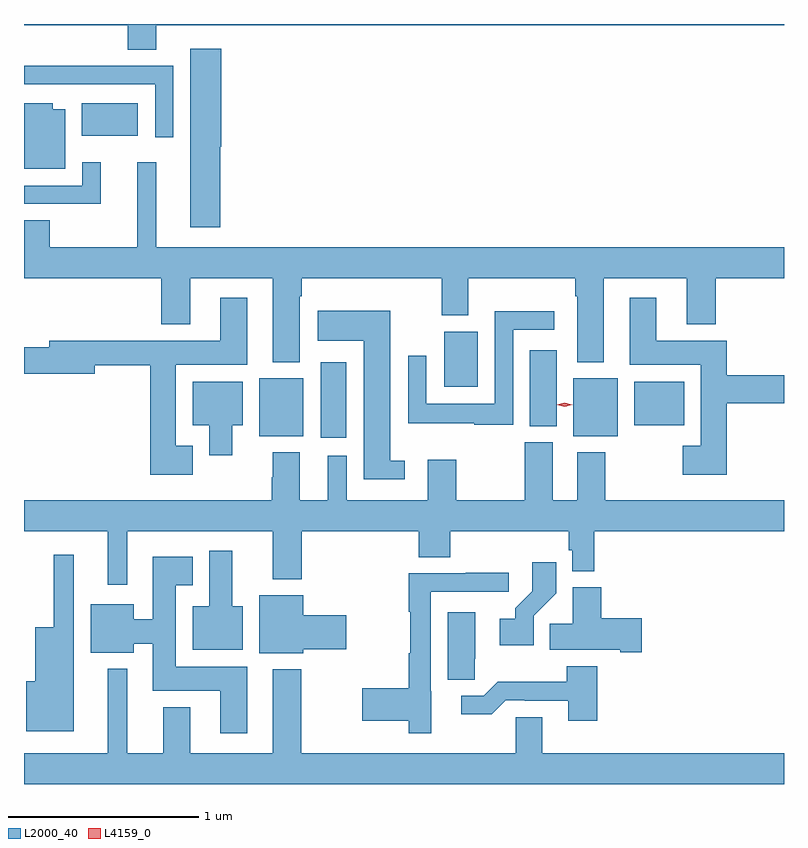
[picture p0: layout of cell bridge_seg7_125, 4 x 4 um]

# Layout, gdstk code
import gdstk
lib = gdstk.Library(unit=1e-6, precision=1e-09)
def R(c, l, rs):  # rectangles x0, y0, x1, y1
    for r in rs: c.add(gdstk.rectangle(r[:2], r[2:], *l))
def P(c, l, *ps):  # polygons
    for p in ps: c.add(gdstk.Polygon(p, *l))
L2000_40 = (2000, 40)
L4159_0 = (4159, 0)

bridge_seg7_125 = lib.new_cell('bridge_seg7_125')
R(bridge_seg7_125, L2000_40, [(794.507,1011.765,794.641,1012.162), (794.183,1011.773,794.416,1012.078), (795.836,1011.773,796.069,1012.078), (795.608,1011.826,795.748,1012.225), (796.157,1011.83,796.42,1012.06), (795.158,1012.034,795.334,1012.321), (793.25,1013.354,793.543,1013.524)])
P(bridge_seg7_125, L2000_40, [(793.642,1013.936),(796.945,1013.936),(796.945,1013.942),(792.945,1013.942),(792.945,1013.936),(793.49,1013.936),(793.49,1013.806),(793.642,1013.806)],
  [(793.979,1013.295),(793.984,1013.295),(793.984,1013.812),(793.82,1013.812),(793.82,1012.872),(793.979,1012.872)],
  [(793.731,1013.721),(793.406,1013.721),(793.406,1013.723),(792.945,1013.723),(792.945,1013.625),(793.635,1013.625),(793.635,1013.346),(793.731,1013.346)],
  [(793.162,1013.494),(793.096,1013.494),(793.096,1013.524),(792.945,1013.524),(792.945,1013.18),(793.162,1013.18)],
  [(793.349,1013.215),(793.251,1013.215),(793.251,1013.091),(792.945,1013.091),(792.945,1012.995),(793.349,1012.995)],
  [(794.395,1012.508),(794.408,1012.508),(794.408,1012.604),(795.143,1012.604),(795.143,1012.41),(795.283,1012.41),(795.283,1012.604),(795.845,1012.604),(795.845,1012.508),(795.857,1012.508),(795.857,1012.163),(795.997,1012.163),(795.997,1012.604),(796.433,1012.604),(796.433,1012.361),(796.586,1012.361),(796.586,1012.604),(796.945,1012.604),(796.945,1012.768),(793.64,1012.768),(793.64,1013.215),(793.541,1013.215),(793.541,1012.768),(793.08,1012.768),(793.08,1012.91),(792.945,1012.91),(792.945,1012.604),(793.667,1012.604),(793.667,1012.361),(793.819,1012.361),(793.819,1012.604),(794.255,1012.604),(794.255,1012.163),(794.395,1012.163)],
  [(796.643,1011.947),(796.945,1011.947),(796.945,1012.094),(796.643,1012.094),(796.643,1012.276),(796.273,1012.276),(796.273,1012.501),(796.133,1012.501),(796.133,1012.148),(796.508,1012.148),(796.508,1011.721),(796.413,1011.721),(796.413,1011.569),(796.643,1011.569)],
  [(793.834,1011.721),(793.744,1011.721),(793.744,1012.148),(794.119,1012.148),(794.119,1012.501),(793.979,1012.501),(793.979,1012.276),(793.079,1012.276),(793.079,1012.242),(792.945,1012.242),(792.945,1012.1),(793.318,1012.1),(793.318,1012.147),(793.61,1012.147),(793.61,1011.569),(793.834,1011.569)],
  [(794.95,1011.644),(794.872,1011.644),(794.872,1012.432),(794.492,1012.432),(794.492,1012.274),(794.732,1012.274),(794.732,1011.546),(794.95,1011.546)],
  [(795.519,1012.332),(795.736,1012.332),(795.736,1012.429),(795.423,1012.429),(795.423,1011.943),(795.063,1011.943),(795.063,1012.195),(794.967,1012.195),(794.967,1011.842),(795.316,1011.842),(795.316,1011.832),(795.519,1011.832)],
  [(794.041,1011.83),(794.095,1011.83),(794.095,1012.06),(793.832,1012.06),(793.832,1011.83),(793.919,1011.83),(793.919,1011.672),(794.041,1011.672)],
  [(793.489,1011.272),(794.255,1011.272),(794.255,1011.02),(794.408,1011.02),(794.408,1011.272),(795.023,1011.272),(795.023,1011.136),(795.188,1011.136),(795.188,1011.272),(795.811,1011.272),(795.811,1011.171),(795.831,1011.171),(795.831,1011.062),(795.947,1011.062),(795.947,1011.272),(796.945,1011.272),(796.945,1011.436),(796.005,1011.436),(796.005,1011.688),(795.857,1011.688),(795.857,1011.436),(795.727,1011.436),(795.727,1011.741),(795.58,1011.741),(795.58,1011.436),(795.219,1011.436),(795.219,1011.649),(795.071,1011.649),(795.071,1011.436),(794.644,1011.436),(794.644,1011.67),(794.543,1011.67),(794.543,1011.436),(794.395,1011.436),(794.395,1011.688),(794.255,1011.688),(794.255,1011.557),(794.248,1011.557),(794.248,1011.436),(792.945,1011.436),(792.945,1011.272),(793.385,1011.272),(793.385,1010.991),(793.489,1010.991)],
  [(794.095,1010.878),(794.041,1010.878),(794.041,1011.169),(793.919,1011.169),(793.919,1010.878),(793.832,1010.878),(793.832,1010.648),(794.095,1010.648)],
  [(793.207,1011.148),(793.101,1011.148),(793.101,1010.767),(793.004,1010.767),(793.004,1010.482),(792.956,1010.482),(792.956,1010.219),(793.207,1010.219)],
  [(794.119,1010.56),(793.744,1010.56),(793.744,1010.987),(793.834,1010.987),(793.834,1011.139),(793.622,1011.139),(793.622,1010.809),(793.522,1010.809),(793.522,1010.887),(793.295,1010.887),(793.295,1010.633),(793.522,1010.633),(793.522,1010.68),(793.622,1010.68),(793.622,1010.432),(793.979,1010.432),(793.979,1010.208),(794.119,1010.208)],
  [(795.627,1010.827),(795.746,1010.946),(795.746,1011.109),(795.621,1011.109),(795.621,1010.957),(795.53,1010.867),(795.53,1010.812),(795.45,1010.812),(795.45,1010.672),(795.627,1010.672)],
  [(795.088,1010.43),(795.087,1010.43),(795.087,1010.955),(795.496,1010.955),(795.496,1011.054),(795.271,1011.054),(795.271,1011.051),(794.971,1011.051),(794.971,1010.848),(794.979,1010.848),(794.979,1010.63),(794.971,1010.63),(794.971,1010.447),(794.724,1010.447),(794.724,1010.276),(794.971,1010.276),(794.971,1010.208),(795.088,1010.208)],
  [(796.195,1010.814),(795.983,1010.814),(795.983,1010.977),(795.833,1010.977),(795.833,1010.786),(795.712,1010.786),(795.712,1010.648),(796.082,1010.648),(796.082,1010.636),(796.195,1010.636)],
  [(794.416,1010.651),(794.641,1010.651),(794.641,1010.829),(794.416,1010.829),(794.416,1010.935),(794.183,1010.935),(794.183,1010.63),(794.416,1010.63)],
  [(795.318,1010.602),(795.319,1010.602),(795.319,1010.845),(795.176,1010.845),(795.176,1010.491),(795.318,1010.491)],
  [(795.962,1010.563),(795.802,1010.563),(795.802,1010.479),(795.439,1010.479),(795.366,1010.406),(795.246,1010.406),(795.246,1010.309),(795.407,1010.309),(795.48,1010.382),(795.58,1010.382),(795.58,1010.379),(795.809,1010.379),(795.809,1010.274),(795.962,1010.274)],
  [(796.945,1010.104),(795.673,1010.104),(795.673,1010.294),(795.534,1010.294),(795.534,1010.104),(794.403,1010.104),(794.403,1010.545),(794.255,1010.545),(794.255,1010.104),(793.819,1010.104),(793.819,1010.347),(793.679,1010.347),(793.679,1010.104),(793.489,1010.104),(793.489,1010.548),(793.385,1010.548),(793.385,1010.104),(792.945,1010.104),(792.945,1009.942),(796.945,1009.942)])
P(bridge_seg7_125, L4159_0, [(795.79,1011.928),(795.75,1011.938),(795.75,1011.938),(795.75,1011.939),(795.79,1011.948),(795.83,1011.939),(795.831,1011.938),(795.83,1011.938)])

lib.write_gds('bridge_seg7_125.gds')
